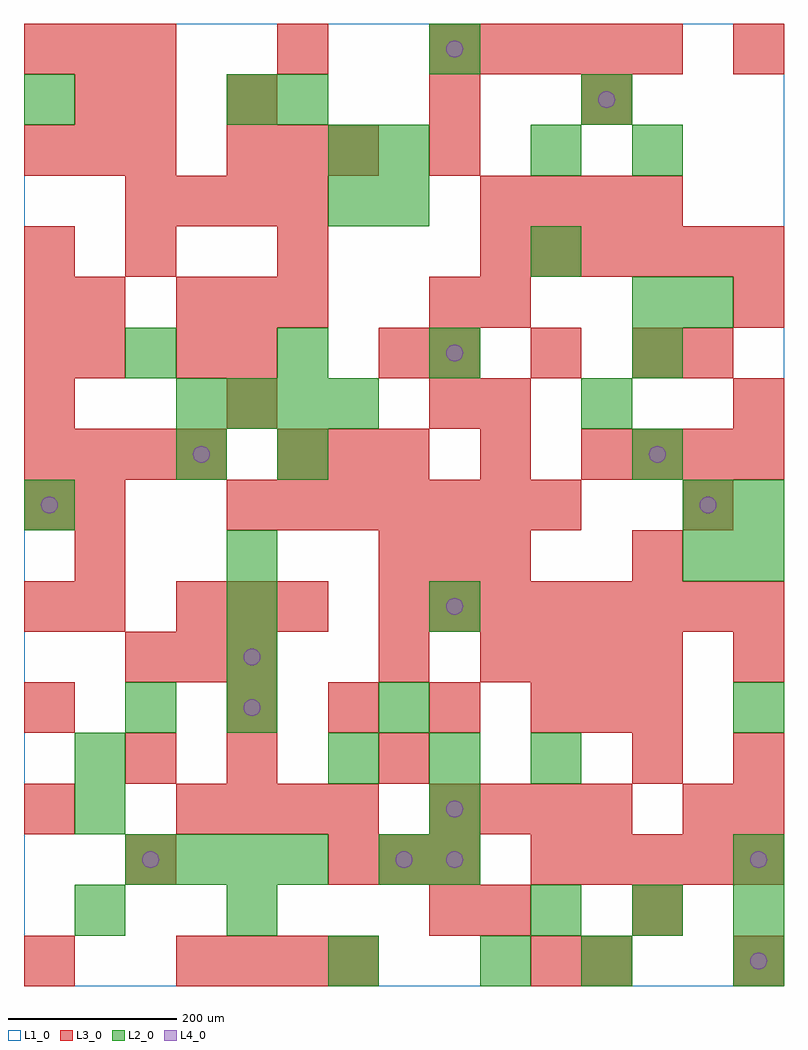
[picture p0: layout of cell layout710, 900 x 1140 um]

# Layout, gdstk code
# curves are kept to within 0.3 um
import gdstk
lib = gdstk.Library(unit=1e-6, precision=1e-09)
def R(c, l, rs):  # rectangles x0, y0, x1, y1
    for r in rs: c.add(gdstk.rectangle(r[:2], r[2:], *l))
def A(c, l, x, y, w, h, nx, ny, dx, dy):  # array of equal rectangles
    R(c, l, [(x+i*dx, y+j*dy, x+i*dx+w, y+j*dy+h) for i in range(nx) for j in range(ny)])
def P(c, l, *ps):  # polygons
    for p in ps: c.add(gdstk.Polygon(p, *l))
L1_0 = (1, 0)
L2_0 = (2, 0)
L3_0 = (3, 0)
L4_0 = (4, 0)

layout710 = lib.new_cell('layout710')
R(layout710, L1_0, [(0,0,900,1140)])
A(layout710, L2_0, 600, 60, 60, 60, 3, 1, 120, 0)
A(layout710, L2_0, 120, 120, 60, 60, 4, 1, 60, 0)
A(layout710, L2_0, 840, 120, 60, 60, 1, 3, 0, 180)
A(layout710, L2_0, 360, 240, 60, 60, 3, 1, 120, 0)
A(layout710, L2_0, 240, 300, 60, 60, 1, 4, 0, 60)
A(layout710, L2_0, 180, 660, 60, 60, 4, 1, 60, 0)
A(layout710, L2_0, 120, 720, 60, 60, 3, 1, 180, 0)
R(layout710, L2_0, [(360,0,420,60), (540,0,600,60), (660,0,720,60), (840,0,900,60), (60,60,120,120), (240,60,300,120), (420,120,480,180), (480,120,540,180), (60,180,120,240), (480,180,540,240), (60,240,120,300), (120,300,180,360), (420,300,480,360), (480,420,540,480), (780,480,840,540), (0,540,60,600), (780,540,840,600), (840,540,900,600), (180,600,240,660), (300,600,360,660), (720,600,780,660), (660,660,720,720), (720,720,780,780), (720,780,780,840), (780,780,840,840), (600,840,660,900), (360,900,420,960), (420,900,480,960), (360,960,420,1020), (420,960,480,1020), (600,960,660,1020), (720,960,780,1020), (0,1020,60,1080), (240,1020,300,1080), (300,1020,360,1080), (660,1020,720,1080), (480,1080,540,1140)])
A(layout710, L3_0, 180, 0, 60, 60, 4, 2, 60, 180)
A(layout710, L3_0, 360, 120, 60, 60, 3, 1, 60, 0)
A(layout710, L3_0, 600, 120, 60, 60, 5, 1, 60, 0)
A(layout710, L3_0, 0, 180, 60, 60, 1, 4, 0, 120)
A(layout710, L3_0, 480, 180, 60, 60, 4, 1, 60, 0)
A(layout710, L3_0, 240, 300, 60, 60, 4, 1, 120, 0)
A(layout710, L3_0, 120, 360, 60, 60, 3, 1, 60, 0)
A(layout710, L3_0, 540, 360, 60, 60, 4, 2, 60, 540)
A(layout710, L3_0, 60, 420, 60, 60, 1, 3, 0, 60)
A(layout710, L3_0, 180, 420, 60, 60, 3, 2, 60, 360)
A(layout710, L3_0, 420, 420, 60, 60, 8, 1, 60, 0)
A(layout710, L3_0, 420, 480, 60, 60, 3, 1, 60, 0)
A(layout710, L3_0, 240, 540, 60, 60, 7, 1, 60, 0)
A(layout710, L3_0, 0, 600, 60, 60, 4, 1, 60, 0)
A(layout710, L3_0, 300, 600, 60, 60, 3, 1, 60, 0)
A(layout710, L3_0, 660, 600, 60, 60, 4, 1, 60, 0)
A(layout710, L3_0, 0, 660, 60, 60, 3, 1, 240, 0)
A(layout710, L3_0, 0, 720, 60, 60, 1, 3, 0, 60)
A(layout710, L3_0, 480, 720, 60, 60, 3, 1, 120, 0)
A(layout710, L3_0, 540, 840, 60, 60, 6, 1, 60, 0)
A(layout710, L3_0, 120, 900, 60, 60, 4, 1, 60, 0)
A(layout710, L3_0, 0, 960, 60, 60, 3, 2, 60, 120)
A(layout710, L3_0, 240, 960, 60, 60, 3, 1, 60, 0)
A(layout710, L3_0, 480, 1080, 60, 60, 5, 1, 60, 0)
R(layout710, L3_0, [(0,0,60,60), (600,0,660,60), (660,0,720,60), (840,0,900,60), (480,60,540,120), (540,60,600,120), (720,60,780,120), (120,120,180,180), (780,180,840,240), (840,180,900,240), (120,240,180,300), (240,240,300,300), (420,240,480,300), (720,240,780,300), (840,240,900,300), (660,300,720,360), (720,300,780,360), (420,360,480,420), (840,360,900,420), (720,480,780,540), (780,540,840,600), (540,600,600,660), (540,660,600,720), (840,660,900,720), (60,720,120,780), (180,720,240,780), (240,720,300,780), (420,720,480,780), (780,720,840,780), (60,780,120,840), (480,780,540,840), (540,780,600,840), (840,780,900,840), (120,840,180,900), (300,840,360,900), (480,960,540,1020), (60,1020,120,1080), (120,1020,180,1080), (240,1020,300,1080), (480,1020,540,1080), (660,1020,720,1080), (300,1080,360,1140), (840,1080,900,1140)])
P(layout710, L4_0, [(40,570),(39.239,573.827),(37.071,577.071),(33.827,579.239),(30,580),(26.173,579.239),(22.929,577.071),(20.761,573.827),(20,570),(20.761,566.173),(22.929,562.929),(26.173,560.761),(30,560),(33.827,560.761),(37.071,562.929),(39.239,566.173)],
  [(160,150),(159.239,153.827),(157.071,157.071),(153.827,159.239),(150,160),(146.173,159.239),(142.929,157.071),(140.761,153.827),(140,150),(140.761,146.173),(142.929,142.929),(146.173,140.761),(150,140),(153.827,140.761),(157.071,142.929),(159.239,146.173)],
  [(220,630),(219.239,633.827),(217.071,637.071),(213.827,639.239),(210,640),(206.173,639.239),(202.929,637.071),(200.761,633.827),(200,630),(200.761,626.173),(202.929,622.929),(206.173,620.761),(210,620),(213.827,620.761),(217.071,622.929),(219.239,626.173)],
  [(280,330),(279.239,333.827),(277.071,337.071),(273.827,339.239),(270,340),(266.173,339.239),(262.929,337.071),(260.761,333.827),(260,330),(260.761,326.173),(262.929,322.929),(266.173,320.761),(270,320),(273.827,320.761),(277.071,322.929),(279.239,326.173)],
  [(280,390),(279.239,393.827),(277.071,397.071),(273.827,399.239),(270,400),(266.173,399.239),(262.929,397.071),(260.761,393.827),(260,390),(260.761,386.173),(262.929,382.929),(266.173,380.761),(270,380),(273.827,380.761),(277.071,382.929),(279.239,386.173)],
  [(460,150),(459.239,153.827),(457.071,157.071),(453.827,159.239),(450,160),(446.173,159.239),(442.929,157.071),(440.761,153.827),(440,150),(440.761,146.173),(442.929,142.929),(446.173,140.761),(450,140),(453.827,140.761),(457.071,142.929),(459.239,146.173)],
  [(520,150),(519.239,153.827),(517.071,157.071),(513.827,159.239),(510,160),(506.173,159.239),(502.929,157.071),(500.761,153.827),(500,150),(500.761,146.173),(502.929,142.929),(506.173,140.761),(510,140),(513.827,140.761),(517.071,142.929),(519.239,146.173)],
  [(520,210),(519.239,213.827),(517.071,217.071),(513.827,219.239),(510,220),(506.173,219.239),(502.929,217.071),(500.761,213.827),(500,210),(500.761,206.173),(502.929,202.929),(506.173,200.761),(510,200),(513.827,200.761),(517.071,202.929),(519.239,206.173)],
  [(520,450),(519.239,453.827),(517.071,457.071),(513.827,459.239),(510,460),(506.173,459.239),(502.929,457.071),(500.761,453.827),(500,450),(500.761,446.173),(502.929,442.929),(506.173,440.761),(510,440),(513.827,440.761),(517.071,442.929),(519.239,446.173)],
  [(520,750),(519.239,753.827),(517.071,757.071),(513.827,759.239),(510,760),(506.173,759.239),(502.929,757.071),(500.761,753.827),(500,750),(500.761,746.173),(502.929,742.929),(506.173,740.761),(510,740),(513.827,740.761),(517.071,742.929),(519.239,746.173)],
  [(520,1110),(519.239,1113.827),(517.071,1117.071),(513.827,1119.239),(510,1120),(506.173,1119.239),(502.929,1117.071),(500.761,1113.827),(500,1110),(500.761,1106.173),(502.929,1102.929),(506.173,1100.761),(510,1100),(513.827,1100.761),(517.071,1102.929),(519.239,1106.173)],
  [(700,1050),(699.239,1053.827),(697.071,1057.071),(693.827,1059.239),(690,1060),(686.173,1059.239),(682.929,1057.071),(680.761,1053.827),(680,1050),(680.761,1046.173),(682.929,1042.929),(686.173,1040.761),(690,1040),(693.827,1040.761),(697.071,1042.929),(699.239,1046.173)],
  [(760,630),(759.239,633.827),(757.071,637.071),(753.827,639.239),(750,640),(746.173,639.239),(742.929,637.071),(740.761,633.827),(740,630),(740.761,626.173),(742.929,622.929),(746.173,620.761),(750,620),(753.827,620.761),(757.071,622.929),(759.239,626.173)],
  [(820,570),(819.239,573.827),(817.071,577.071),(813.827,579.239),(810,580),(806.173,579.239),(802.929,577.071),(800.761,573.827),(800,570),(800.761,566.173),(802.929,562.929),(806.173,560.761),(810,560),(813.827,560.761),(817.071,562.929),(819.239,566.173)],
  [(880,30),(879.239,33.827),(877.071,37.071),(873.827,39.239),(870,40),(866.173,39.239),(862.929,37.071),(860.761,33.827),(860,30),(860.761,26.173),(862.929,22.929),(866.173,20.761),(870,20),(873.827,20.761),(877.071,22.929),(879.239,26.173)],
  [(880,150),(879.239,153.827),(877.071,157.071),(873.827,159.239),(870,160),(866.173,159.239),(862.929,157.071),(860.761,153.827),(860,150),(860.761,146.173),(862.929,142.929),(866.173,140.761),(870,140),(873.827,140.761),(877.071,142.929),(879.239,146.173)])

lib.write_gds('layout710.gds')
